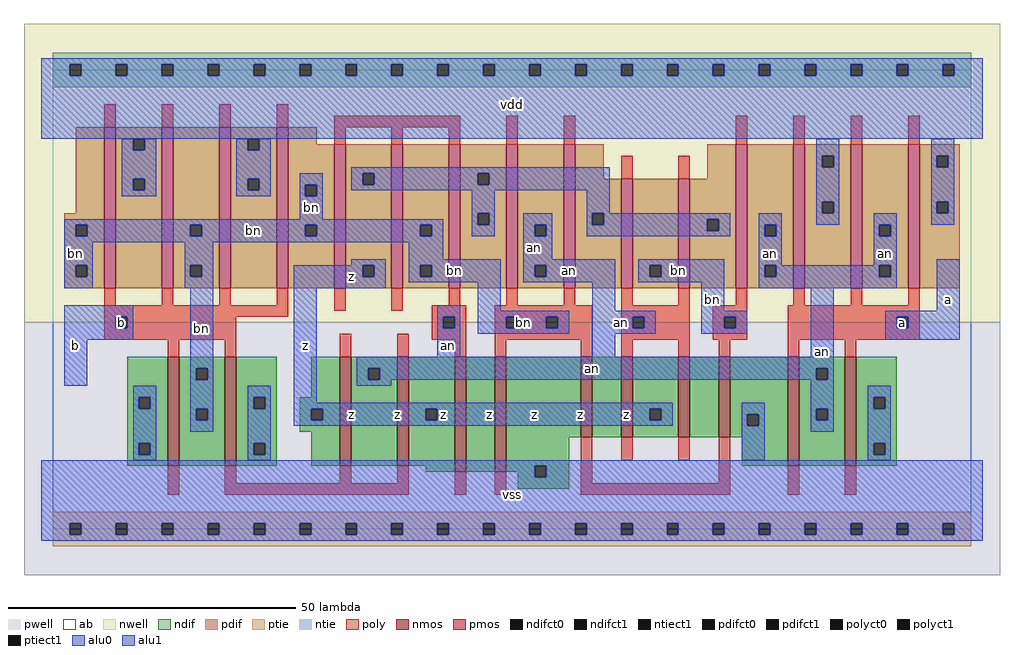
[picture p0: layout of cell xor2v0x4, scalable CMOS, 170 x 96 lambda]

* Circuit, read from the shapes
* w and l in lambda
.subckt xor2v0x4 a an b bn vdd vss z
M1 bn b vss vss nfet w=19 l=2 m=2
M2 an b z vss nfet w=19 l=2 m=2
M3 n1 an z vss nfet w=20 l=2
M4 vss bn n1 vss nfet w=20 l=2
M5 n2 bn vss vss nfet w=14 l=2
M6 z an n2 vss nfet w=14 l=2
M7 n3 an z vss nfet w=14 l=2
M8 vss bn n3 vss nfet w=14 l=2
M9 an a vss vss nfet w=19 l=2 m=2
M10 vdd b bn vdd pfet w=28 l=2 m=4
M11 z an bn vdd pfet w=25 l=2 m=3
M12 an bn z vdd pfet w=25 l=2 m=3
M13 bn an z vdd pfet w=19 l=2 m=2
M14 vdd a an vdd pfet w=25 l=2 m=3
.ends

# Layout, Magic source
magic
tech scmos
<< ab >>
rect 0 0 160 80
<< nwell >>
rect -5 36 165 88
<< pwell >>
rect -5 -8 165 36
<< poly >>
rect 9 70 11 74
rect 19 70 21 74
rect 29 70 31 74
rect 39 70 41 74
rect 49 70 71 72
rect 49 67 51 70
rect 59 67 61 70
rect 69 67 71 70
rect 79 67 81 72
rect 89 67 91 72
rect 119 67 121 72
rect 129 67 131 72
rect 139 67 141 72
rect 149 67 151 72
rect 99 61 101 65
rect 109 61 111 65
rect 9 39 11 42
rect 19 39 21 42
rect 29 39 31 42
rect 39 39 41 42
rect 9 37 41 39
rect 49 38 51 42
rect 59 38 61 42
rect 69 39 71 42
rect 79 39 81 42
rect 89 39 91 42
rect 99 39 101 42
rect 109 39 111 42
rect 119 39 121 42
rect 129 39 131 42
rect 139 39 141 42
rect 149 39 151 42
rect 66 37 72 39
rect 9 35 11 37
rect 13 35 32 37
rect 9 33 32 35
rect 66 35 68 37
rect 70 35 72 37
rect 20 30 22 33
rect 30 30 32 33
rect 50 30 52 34
rect 60 30 62 34
rect 66 33 72 35
rect 70 30 72 33
rect 77 37 94 39
rect 77 35 79 37
rect 81 35 86 37
rect 88 35 94 37
rect 77 33 94 35
rect 77 30 79 33
rect 92 30 94 33
rect 99 37 111 39
rect 99 35 101 37
rect 103 35 111 37
rect 99 33 111 35
rect 115 37 121 39
rect 115 35 117 37
rect 119 35 121 37
rect 115 33 121 35
rect 128 37 151 39
rect 128 35 147 37
rect 149 35 151 37
rect 128 33 151 35
rect 99 30 101 33
rect 109 30 111 33
rect 116 30 118 33
rect 128 30 130 33
rect 138 30 140 33
rect 20 6 22 11
rect 30 8 32 11
rect 50 8 52 11
rect 60 8 62 11
rect 30 6 62 8
rect 70 6 72 10
rect 77 6 79 10
rect 92 8 94 16
rect 99 12 101 16
rect 109 12 111 16
rect 116 8 118 16
rect 92 6 118 8
rect 128 6 130 11
rect 138 6 140 11
<< ndif >>
rect 13 23 20 30
rect 13 21 15 23
rect 17 21 20 23
rect 13 15 20 21
rect 13 13 15 15
rect 17 13 20 15
rect 13 11 20 13
rect 22 28 30 30
rect 22 26 25 28
rect 27 26 30 28
rect 22 21 30 26
rect 22 19 25 21
rect 27 19 30 21
rect 22 11 30 19
rect 32 23 39 30
rect 45 23 50 30
rect 32 21 35 23
rect 37 21 39 23
rect 32 15 39 21
rect 43 21 50 23
rect 43 19 45 21
rect 47 19 50 21
rect 43 17 50 19
rect 32 13 35 15
rect 37 13 39 15
rect 32 11 39 13
rect 45 11 50 17
rect 52 28 60 30
rect 52 26 55 28
rect 57 26 60 28
rect 52 11 60 26
rect 62 21 70 30
rect 62 19 65 21
rect 67 19 70 21
rect 62 11 70 19
rect 65 10 70 11
rect 72 10 77 30
rect 79 16 92 30
rect 94 16 99 30
rect 101 21 109 30
rect 101 19 104 21
rect 106 19 109 21
rect 101 16 109 19
rect 111 16 116 30
rect 118 20 128 30
rect 118 18 121 20
rect 123 18 128 20
rect 118 16 128 18
rect 79 11 90 16
rect 79 10 84 11
rect 81 9 84 10
rect 86 9 90 11
rect 81 7 90 9
rect 120 11 128 16
rect 130 28 138 30
rect 130 26 133 28
rect 135 26 138 28
rect 130 21 138 26
rect 130 19 133 21
rect 135 19 138 21
rect 130 11 138 19
rect 140 23 147 30
rect 140 21 143 23
rect 145 21 147 23
rect 140 15 147 21
rect 140 13 143 15
rect 145 13 147 15
rect 140 11 147 13
<< pdif >>
rect 4 55 9 70
rect 2 53 9 55
rect 2 51 4 53
rect 6 51 9 53
rect 2 46 9 51
rect 2 44 4 46
rect 6 44 9 46
rect 2 42 9 44
rect 11 68 19 70
rect 11 66 14 68
rect 16 66 19 68
rect 11 61 19 66
rect 11 59 14 61
rect 16 59 19 61
rect 11 42 19 59
rect 21 53 29 70
rect 21 51 24 53
rect 26 51 29 53
rect 21 46 29 51
rect 21 44 24 46
rect 26 44 29 46
rect 21 42 29 44
rect 31 68 39 70
rect 31 66 34 68
rect 36 66 39 68
rect 31 61 39 66
rect 31 59 34 61
rect 36 59 39 61
rect 31 42 39 59
rect 41 67 46 70
rect 41 60 49 67
rect 41 58 44 60
rect 46 58 49 60
rect 41 53 49 58
rect 41 51 44 53
rect 46 51 49 53
rect 41 42 49 51
rect 51 62 59 67
rect 51 60 54 62
rect 56 60 59 62
rect 51 46 59 60
rect 51 44 54 46
rect 56 44 59 46
rect 51 42 59 44
rect 61 53 69 67
rect 61 51 64 53
rect 66 51 69 53
rect 61 46 69 51
rect 61 44 64 46
rect 66 44 69 46
rect 61 42 69 44
rect 71 62 79 67
rect 71 60 74 62
rect 76 60 79 62
rect 71 55 79 60
rect 71 53 74 55
rect 76 53 79 55
rect 71 42 79 53
rect 81 53 89 67
rect 81 51 84 53
rect 86 51 89 53
rect 81 46 89 51
rect 81 44 84 46
rect 86 44 89 46
rect 81 42 89 44
rect 91 61 96 67
rect 114 61 119 67
rect 91 55 99 61
rect 91 53 94 55
rect 96 53 99 55
rect 91 42 99 53
rect 101 46 109 61
rect 101 44 104 46
rect 106 44 109 46
rect 101 42 109 44
rect 111 54 119 61
rect 111 52 114 54
rect 116 52 119 54
rect 111 42 119 52
rect 121 53 129 67
rect 121 51 124 53
rect 126 51 129 53
rect 121 46 129 51
rect 121 44 124 46
rect 126 44 129 46
rect 121 42 129 44
rect 131 65 139 67
rect 131 63 134 65
rect 136 63 139 65
rect 131 57 139 63
rect 131 55 134 57
rect 136 55 139 57
rect 131 42 139 55
rect 141 53 149 67
rect 141 51 144 53
rect 146 51 149 53
rect 141 46 149 51
rect 141 44 144 46
rect 146 44 149 46
rect 141 42 149 44
rect 151 65 158 67
rect 151 63 154 65
rect 156 63 158 65
rect 151 57 158 63
rect 151 55 154 57
rect 156 55 158 57
rect 151 42 158 55
<< alu1 >>
rect -2 81 162 82
rect -2 79 3 81
rect 5 79 11 81
rect 13 79 19 81
rect 21 79 27 81
rect 29 79 35 81
rect 37 79 43 81
rect 45 79 51 81
rect 53 79 59 81
rect 61 79 67 81
rect 69 79 75 81
rect 77 79 83 81
rect 85 79 91 81
rect 93 79 99 81
rect 101 79 107 81
rect 109 79 115 81
rect 117 79 123 81
rect 125 79 131 81
rect 133 79 139 81
rect 141 79 147 81
rect 149 79 155 81
rect 157 79 162 81
rect -2 68 162 79
rect 52 46 58 47
rect 2 37 14 39
rect 2 35 11 37
rect 13 35 14 37
rect 2 33 14 35
rect 2 25 6 33
rect 42 44 54 46
rect 56 44 58 46
rect 42 42 58 44
rect 42 22 46 42
rect 154 38 158 47
rect 145 37 158 38
rect 145 35 147 37
rect 149 35 158 37
rect 145 33 158 35
rect 42 21 108 22
rect 42 19 45 21
rect 47 19 65 21
rect 67 19 104 21
rect 106 19 108 21
rect 42 18 108 19
rect -2 11 162 12
rect -2 9 84 11
rect 86 9 162 11
rect -2 1 162 9
rect -2 -1 3 1
rect 5 -1 11 1
rect 13 -1 19 1
rect 21 -1 27 1
rect 29 -1 35 1
rect 37 -1 43 1
rect 45 -1 51 1
rect 53 -1 59 1
rect 61 -1 67 1
rect 69 -1 75 1
rect 77 -1 83 1
rect 85 -1 91 1
rect 93 -1 99 1
rect 101 -1 107 1
rect 109 -1 115 1
rect 117 -1 123 1
rect 125 -1 131 1
rect 133 -1 139 1
rect 141 -1 147 1
rect 149 -1 155 1
rect 157 -1 162 1
rect -2 -2 162 -1
<< ptie >>
rect 0 1 160 3
rect 0 -1 3 1
rect 5 -1 11 1
rect 13 -1 19 1
rect 21 -1 27 1
rect 29 -1 35 1
rect 37 -1 43 1
rect 45 -1 51 1
rect 53 -1 59 1
rect 61 -1 67 1
rect 69 -1 75 1
rect 77 -1 83 1
rect 85 -1 91 1
rect 93 -1 99 1
rect 101 -1 107 1
rect 109 -1 115 1
rect 117 -1 123 1
rect 125 -1 131 1
rect 133 -1 139 1
rect 141 -1 147 1
rect 149 -1 155 1
rect 157 -1 160 1
rect 0 -3 160 -1
<< ntie >>
rect 0 81 160 83
rect 0 79 3 81
rect 5 79 11 81
rect 13 79 19 81
rect 21 79 27 81
rect 29 79 35 81
rect 37 79 43 81
rect 45 79 51 81
rect 53 79 59 81
rect 61 79 67 81
rect 69 79 75 81
rect 77 79 83 81
rect 85 79 91 81
rect 93 79 99 81
rect 101 79 107 81
rect 109 79 115 81
rect 117 79 123 81
rect 125 79 131 81
rect 133 79 139 81
rect 141 79 147 81
rect 149 79 155 81
rect 157 79 160 81
rect 0 77 160 79
<< nmos >>
rect 20 11 22 30
rect 30 11 32 30
rect 50 11 52 30
rect 60 11 62 30
rect 70 10 72 30
rect 77 10 79 30
rect 92 16 94 30
rect 99 16 101 30
rect 109 16 111 30
rect 116 16 118 30
rect 128 11 130 30
rect 138 11 140 30
<< pmos >>
rect 9 42 11 70
rect 19 42 21 70
rect 29 42 31 70
rect 39 42 41 70
rect 49 42 51 67
rect 59 42 61 67
rect 69 42 71 67
rect 79 42 81 67
rect 89 42 91 67
rect 99 42 101 61
rect 109 42 111 61
rect 119 42 121 67
rect 129 42 131 67
rect 139 42 141 67
rect 149 42 151 67
<< polyct0 >>
rect 68 35 70 37
rect 79 35 81 37
rect 86 35 88 37
rect 101 35 103 37
rect 117 35 119 37
<< polyct1 >>
rect 11 35 13 37
rect 147 35 149 37
<< ndifct0 >>
rect 15 21 17 23
rect 15 13 17 15
rect 25 26 27 28
rect 25 19 27 21
rect 35 21 37 23
rect 35 13 37 15
rect 55 26 57 28
rect 121 18 123 20
rect 133 26 135 28
rect 133 19 135 21
rect 143 21 145 23
rect 143 13 145 15
<< ndifct1 >>
rect 45 19 47 21
rect 65 19 67 21
rect 104 19 106 21
rect 84 9 86 11
<< ntiect1 >>
rect 3 79 5 81
rect 11 79 13 81
rect 19 79 21 81
rect 27 79 29 81
rect 35 79 37 81
rect 43 79 45 81
rect 51 79 53 81
rect 59 79 61 81
rect 67 79 69 81
rect 75 79 77 81
rect 83 79 85 81
rect 91 79 93 81
rect 99 79 101 81
rect 107 79 109 81
rect 115 79 117 81
rect 123 79 125 81
rect 131 79 133 81
rect 139 79 141 81
rect 147 79 149 81
rect 155 79 157 81
<< ptiect1 >>
rect 3 -1 5 1
rect 11 -1 13 1
rect 19 -1 21 1
rect 27 -1 29 1
rect 35 -1 37 1
rect 43 -1 45 1
rect 51 -1 53 1
rect 59 -1 61 1
rect 67 -1 69 1
rect 75 -1 77 1
rect 83 -1 85 1
rect 91 -1 93 1
rect 99 -1 101 1
rect 107 -1 109 1
rect 115 -1 117 1
rect 123 -1 125 1
rect 131 -1 133 1
rect 139 -1 141 1
rect 147 -1 149 1
rect 155 -1 157 1
<< pdifct0 >>
rect 4 51 6 53
rect 4 44 6 46
rect 14 66 16 68
rect 14 59 16 61
rect 24 51 26 53
rect 24 44 26 46
rect 34 66 36 68
rect 34 59 36 61
rect 44 58 46 60
rect 44 51 46 53
rect 54 60 56 62
rect 64 51 66 53
rect 64 44 66 46
rect 74 60 76 62
rect 74 53 76 55
rect 84 51 86 53
rect 84 44 86 46
rect 94 53 96 55
rect 104 44 106 46
rect 114 52 116 54
rect 124 51 126 53
rect 124 44 126 46
rect 134 63 136 65
rect 134 55 136 57
rect 144 51 146 53
rect 144 44 146 46
rect 154 63 156 65
rect 154 55 156 57
<< pdifct1 >>
rect 54 44 56 46
<< alu0 >>
rect 12 66 14 68
rect 16 66 18 68
rect 12 61 18 66
rect 12 59 14 61
rect 16 59 18 61
rect 12 58 18 59
rect 32 66 34 68
rect 36 66 38 68
rect 32 61 38 66
rect 133 65 137 68
rect 133 63 134 65
rect 136 63 137 65
rect 52 62 97 63
rect 32 59 34 61
rect 36 59 38 61
rect 32 58 38 59
rect 43 60 47 62
rect 43 58 44 60
rect 46 58 47 60
rect 52 60 54 62
rect 56 60 74 62
rect 76 60 97 62
rect 52 59 97 60
rect 43 54 47 58
rect 73 55 77 59
rect 93 55 97 59
rect 133 57 137 63
rect 133 55 134 57
rect 136 55 137 57
rect 153 65 157 68
rect 153 63 154 65
rect 156 63 157 65
rect 153 57 157 63
rect 153 55 154 57
rect 156 55 157 57
rect 2 53 68 54
rect 2 51 4 53
rect 6 51 24 53
rect 26 51 44 53
rect 46 51 64 53
rect 66 51 68 53
rect 73 53 74 55
rect 76 53 77 55
rect 73 51 77 53
rect 82 53 87 55
rect 82 51 84 53
rect 86 51 87 53
rect 93 53 94 55
rect 96 54 118 55
rect 96 53 114 54
rect 93 52 114 53
rect 116 52 118 54
rect 93 51 118 52
rect 123 53 127 55
rect 133 53 137 55
rect 143 53 147 55
rect 153 53 157 55
rect 123 51 124 53
rect 126 51 127 53
rect 2 50 68 51
rect 2 46 7 50
rect 2 44 4 46
rect 6 44 7 46
rect 2 42 7 44
rect 23 46 28 50
rect 62 47 68 50
rect 82 47 87 51
rect 23 44 24 46
rect 26 44 28 46
rect 23 42 28 44
rect 24 28 28 42
rect 24 26 25 28
rect 27 26 28 28
rect 14 23 18 25
rect 14 21 15 23
rect 17 21 18 23
rect 14 15 18 21
rect 24 21 28 26
rect 62 46 78 47
rect 62 44 64 46
rect 66 44 78 46
rect 62 43 78 44
rect 82 46 98 47
rect 82 44 84 46
rect 86 44 98 46
rect 82 43 98 44
rect 102 46 117 47
rect 102 44 104 46
rect 106 44 117 46
rect 102 43 117 44
rect 24 19 25 21
rect 27 19 28 21
rect 24 17 28 19
rect 34 23 38 25
rect 34 21 35 23
rect 37 21 38 23
rect 14 13 15 15
rect 17 13 18 15
rect 14 12 18 13
rect 34 15 38 21
rect 67 37 71 39
rect 67 35 68 37
rect 70 35 71 37
rect 67 30 71 35
rect 74 38 78 43
rect 94 38 98 43
rect 113 38 117 43
rect 123 46 127 51
rect 143 51 144 53
rect 146 51 147 53
rect 143 46 147 51
rect 123 44 124 46
rect 126 44 144 46
rect 146 44 147 46
rect 123 42 147 44
rect 74 37 90 38
rect 74 35 79 37
rect 81 35 86 37
rect 88 35 90 37
rect 74 34 90 35
rect 94 37 105 38
rect 94 35 101 37
rect 103 35 105 37
rect 94 34 105 35
rect 113 37 121 38
rect 113 35 117 37
rect 119 35 121 37
rect 113 34 121 35
rect 94 30 98 34
rect 132 30 136 42
rect 53 28 136 30
rect 53 26 55 28
rect 57 26 133 28
rect 135 26 136 28
rect 53 25 59 26
rect 120 20 124 22
rect 120 18 121 20
rect 123 18 124 20
rect 34 13 35 15
rect 37 13 38 15
rect 34 12 38 13
rect 120 12 124 18
rect 132 21 136 26
rect 132 19 133 21
rect 135 19 136 21
rect 132 17 136 19
rect 142 23 146 25
rect 142 21 143 23
rect 145 21 146 23
rect 142 15 146 21
rect 142 13 143 15
rect 145 13 146 15
rect 142 12 146 13
<< labels >>
rlabel alu0 4 48 4 48 6 bn
rlabel alu0 26 35 26 35 6 bn
rlabel alu0 45 56 45 56 6 bn
rlabel alu0 69 32 69 32 6 an
rlabel alu0 70 45 70 45 6 bn
rlabel alu0 82 36 82 36 6 bn
rlabel alu0 84 49 84 49 6 an
rlabel alu0 35 52 35 52 6 bn
rlabel alu0 90 45 90 45 6 an
rlabel alu0 99 36 99 36 6 an
rlabel alu0 115 40 115 40 6 bn
rlabel alu0 109 45 109 45 6 bn
rlabel alu0 94 28 94 28 6 an
rlabel alu0 134 31 134 31 6 an
rlabel alu0 145 48 145 48 6 an
rlabel alu0 125 48 125 48 6 an
rlabel alu1 4 32 4 32 6 b
rlabel polyct1 12 36 12 36 6 b
rlabel alu1 52 20 52 20 6 z
rlabel alu1 60 20 60 20 6 z
rlabel alu1 68 20 68 20 6 z
rlabel alu1 76 20 76 20 6 z
rlabel alu1 44 32 44 32 6 z
rlabel alu1 52 44 52 44 6 z
rlabel alu1 80 6 80 6 6 vss
rlabel alu1 100 20 100 20 6 z
rlabel alu1 92 20 92 20 6 z
rlabel alu1 84 20 84 20 6 z
rlabel alu1 80 74 80 74 6 vdd
rlabel polyct1 148 36 148 36 6 a
rlabel alu1 156 40 156 40 6 a
<< end >>
